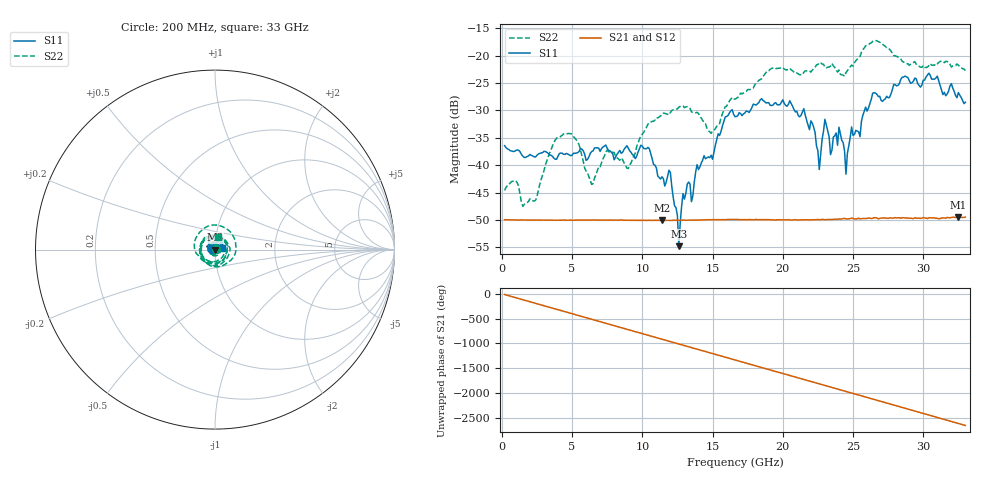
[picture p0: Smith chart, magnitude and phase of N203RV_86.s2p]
# GHZ S RI R 50
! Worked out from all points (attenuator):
!   329 points, 200 MHz to 33 GHz, reference 50 ohm
!   highest |S21| = -49.46 dB at 32.5 GHz (marker M1); lowest = -50.1 dB at 11.4 GHz (marker M2)
!   lowest |S11| = -54.8 dB at 12.6 GHz (marker M3), VSWR 1.00, Z = 49.8 + j0.048 ohm
!   |S11| at or under -10 dB: start of sweep to end of sweep
!   |S22| runs from -47.5 to -17.2 dB; largest |S21 - S12| = 7.2e-05
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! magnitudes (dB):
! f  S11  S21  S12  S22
! 200 MHz  -36.4  -50.0  -50.0  -44.6
! 2.4 GHz  -38.5  -50.0  -50.0  -46.4
! 4.4 GHz  -38.0  -50.0  -50.0  -34.3
! 5.7 GHz  -37.1  -50.0  -50.0  -38.3
! 9 GHz  -36.9  -50.1  -50.0  -40.6
! 11.2 GHz  -42.3  -50.1  -50.1  -31.2
! 11.4 GHz  -42.1  -50.1  -50.1  -30.9
! 12 GHz  -41.3  -50.1  -50.1  -30.4
! 12.6 GHz  -54.8  -50.1  -50.0  -29.4
! 12.9 GHz  -45.2  -50.0  -50.0  -29.2
! 14.9 GHz  -38.2  -50.0  -49.9  -34.2
! 16.6 GHz  -31.1  -49.9  -49.9  -27.9
! 22.1 GHz  -32.3  -50.0  -49.9  -22.6
! 22.6 GHz  -40.8  -50.0  -49.9  -21.3
! 23 GHz  -31.6  -50.0  -49.9  -22.1
! 23.4 GHz  -38.1  -49.9  -49.9  -21.9
! 24 GHz  -33.1  -49.8  -49.8  -22.6
! 24.5 GHz  -41.6  -49.8  -49.8  -23.1
! 24.9 GHz  -33.0  -49.7  -49.7  -21.7
! 27.6 GHz  -27.6  -49.6  -49.6  -18.8
! 32.5 GHz  -26.7  -49.5  -49.5  -21.7
! 33 GHz  -28.5  -49.5  -49.5  -22.7
